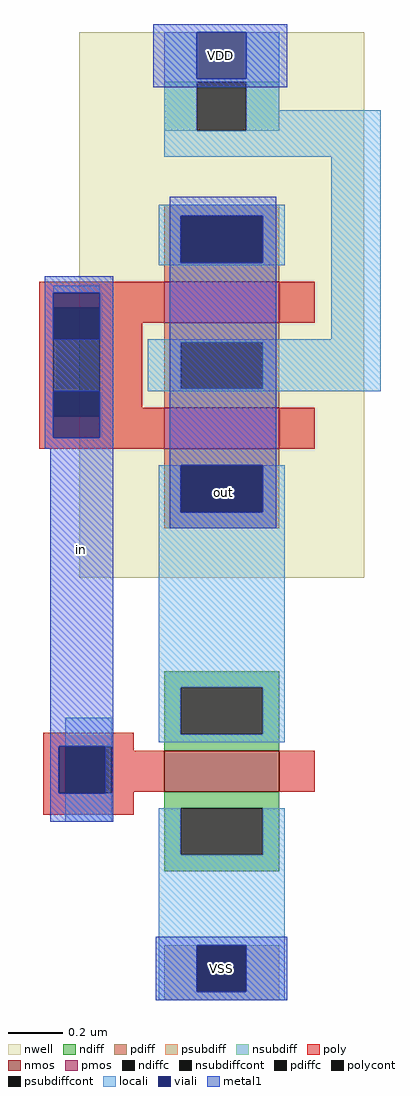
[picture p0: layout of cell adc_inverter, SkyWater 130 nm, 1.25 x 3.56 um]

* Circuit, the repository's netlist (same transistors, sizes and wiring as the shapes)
** sch_path: /foss/designs/SKY130_SAR-ADC/xschem/adc_inverter.sch
.subckt adc_inverter VDD VSS out in
*.PININFO VDD:B VSS:B out:O in:I
XM1 out in VSS VSS sky130_fd_pr__nfet_01v8 L=0.15 W=0.42 nf=1 ad='int((nf+1)/2) * W/nf * 0.29' as='int((nf+2)/2) * W/nf * 0.29'
+ pd='2*int((nf+1)/2) * (W/nf + 0.29)' ps='2*int((nf+2)/2) * (W/nf + 0.29)' nrd='0.29 / W' nrs='0.29 / W'
+ sa=0 sb=0 sd=0 mult=1 m=1
XM2 out in VDD VDD sky130_fd_pr__pfet_01v8 L=0.15 W=0.84 nf=2 ad='int((nf+1)/2) * W/nf * 0.29' as='int((nf+2)/2) * W/nf * 0.29'
+ pd='2*int((nf+1)/2) * (W/nf + 0.29)' ps='2*int((nf+2)/2) * (W/nf + 0.29)' nrd='0.29 / W' nrs='0.29 / W'
+ sa=0 sb=0 sd=0 mult=1 m=1
.ends
.end

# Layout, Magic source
magic
tech sky130A
magscale 1 2
<< nwell >>
rect 0 178 208 576
<< nmos >>
rect 62 22 146 52
<< pmos >>
rect 62 364 146 394
rect 62 272 146 302
<< ndiff >>
rect 62 98 146 110
rect 62 64 74 98
rect 134 64 146 98
rect 62 52 146 64
rect 62 10 146 22
rect 62 -24 74 10
rect 134 -24 146 10
rect 62 -36 146 -24
<< pdiff >>
rect 62 442 146 450
rect 62 408 74 442
rect 134 408 146 442
rect 62 394 146 408
rect 62 350 146 364
rect 62 316 74 350
rect 134 316 146 350
rect 62 302 146 316
rect 62 260 146 272
rect 62 226 74 260
rect 134 226 146 260
rect 62 214 146 226
<< ndiffc >>
rect 74 64 134 98
rect 74 -24 134 10
<< pdiffc >>
rect 74 408 134 442
rect 74 316 134 350
rect 74 226 134 260
<< psubdiff >>
rect 62 -124 86 -90
rect 122 -124 146 -90
rect 62 -130 146 -124
<< nsubdiff >>
rect 62 504 86 540
rect 122 504 146 540
<< psubdiffcont >>
rect 86 -124 122 -90
<< nsubdiffcont >>
rect 86 504 122 540
<< poly >>
rect -29 375 62 394
rect -29 296 -19 375
rect 15 364 62 375
rect 146 364 172 394
rect 15 302 46 364
rect 15 296 62 302
rect -29 272 62 296
rect 146 272 172 302
rect -26 55 40 65
rect -26 21 -10 55
rect 24 52 40 55
rect 24 22 62 52
rect 146 22 172 52
rect 24 21 40 22
rect -26 5 40 21
<< polycont >>
rect -19 296 15 375
rect -10 21 24 55
<< locali >>
rect 62 542 86 576
rect 122 542 146 576
rect 62 540 146 542
rect 62 504 86 540
rect 122 519 146 540
rect 122 504 220 519
rect 62 485 220 504
rect 58 442 150 450
rect 58 408 74 442
rect 134 408 150 442
rect 58 406 150 408
rect -19 386 15 391
rect 184 352 220 485
rect 50 350 220 352
rect 50 316 74 350
rect 134 316 220 350
rect 50 314 220 316
rect 58 226 74 260
rect 134 226 150 260
rect 58 98 150 226
rect -10 55 24 76
rect 58 64 74 98
rect 134 64 150 98
rect 58 58 150 64
rect -10 0 24 21
rect 58 -24 74 10
rect 134 -24 150 10
rect 58 -90 150 -24
rect 58 -124 86 -90
rect 122 -124 150 -90
rect 58 -130 150 -124
<< viali >>
rect 86 542 122 576
rect 74 408 134 442
rect -19 375 15 386
rect -19 352 15 375
rect -19 296 15 314
rect -19 280 15 296
rect 74 226 134 260
rect -15 21 -10 55
rect -10 21 19 55
rect 86 -124 122 -90
<< metal1 >>
rect 54 576 152 582
rect 54 542 86 576
rect 122 542 152 576
rect 54 536 152 542
rect 66 442 144 456
rect 66 408 74 442
rect 134 408 144 442
rect -25 386 25 398
rect -25 352 -19 386
rect 15 352 25 386
rect -25 314 25 352
rect -25 280 -19 314
rect 15 280 25 314
rect -25 272 25 280
rect -21 55 25 272
rect 66 260 144 408
rect 66 226 74 260
rect 134 226 144 260
rect 66 214 144 226
rect -21 21 -15 55
rect 19 21 25 55
rect -21 0 25 21
rect 56 -90 152 -84
rect 56 -124 86 -90
rect 122 -124 152 -90
rect 56 -130 152 -124
<< labels >>
flabel metal1 -21 0 25 398 0 FreeSans 160 0 0 0 in
port 4 nsew
flabel metal1 66 214 144 267 0 FreeSans 160 0 0 0 out
port 6 nsew
flabel metal1 54 536 152 582 0 FreeSans 160 0 0 0 VDD
port 7 nsew
flabel metal1 56 -130 152 -84 0 FreeSans 160 0 0 0 VSS
port 9 nsew
<< end >>
